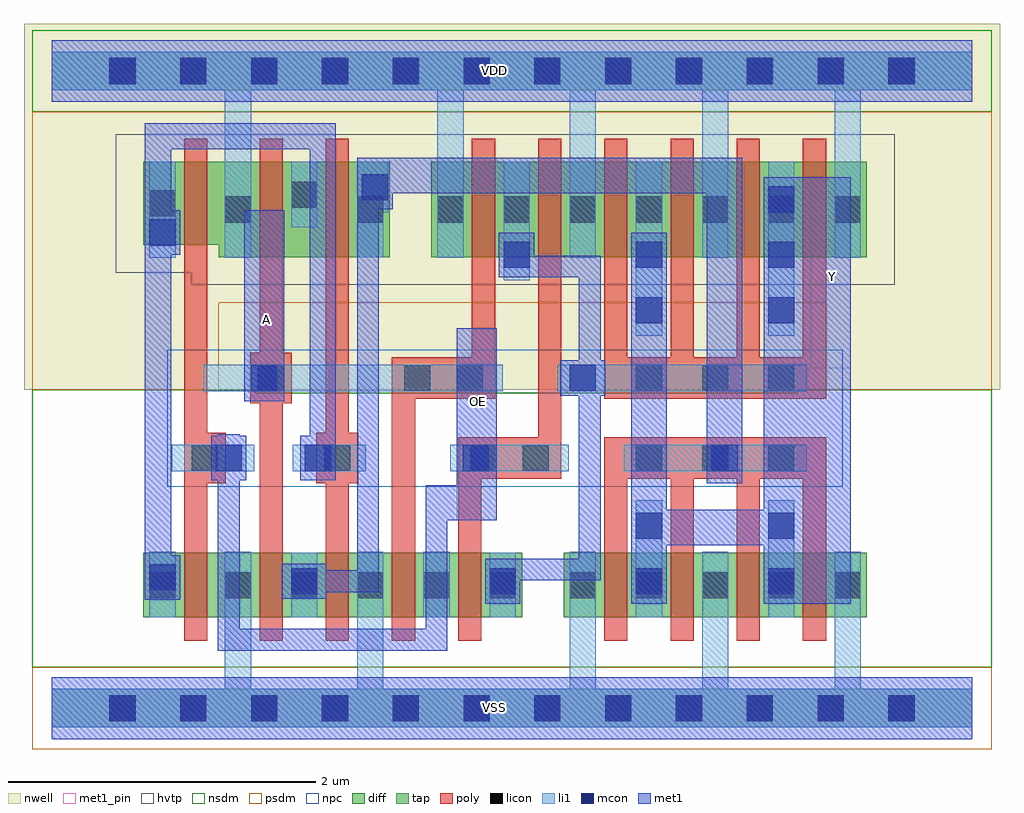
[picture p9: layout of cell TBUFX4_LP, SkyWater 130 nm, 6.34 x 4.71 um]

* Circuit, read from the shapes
.subckt TBUFX4_LP A OE VDD VSS Y
XM1 VSS OE n1 VSS sky130_fd_pr__nfet_01v8 w=0.42 l=0.15
XM2 n2 A VSS VSS sky130_fd_pr__nfet_01v8 w=0.42 l=0.15
XM3 VSS n1 n2 VSS sky130_fd_pr__nfet_01v8 w=0.42 l=0.15
XM4 n3 A VSS VSS sky130_fd_pr__nfet_01v8 w=0.42 l=0.15
XM5 n4 OE n3 VSS sky130_fd_pr__nfet_01v8 w=0.42 l=0.15
XM6 Y n2 VSS VSS sky130_fd_pr__nfet_01v8 w=0.42 l=0.15 m=4
XM7 VDD OE n1 VDD sky130_fd_pr__pfet_01v8_hvt w=0.54 l=0.15
XM8 n5 A VDD VDD sky130_fd_pr__pfet_01v8_hvt w=0.62 l=0.15
XM9 n2 n1 n5 VDD sky130_fd_pr__pfet_01v8_hvt w=0.62 l=0.15
XM10 n4 A VDD VDD sky130_fd_pr__pfet_01v8_hvt w=0.62 l=0.15
XM11 VDD OE n4 VDD sky130_fd_pr__pfet_01v8_hvt w=0.62 l=0.15
XM12 Y n4 VDD VDD sky130_fd_pr__pfet_01v8_hvt w=0.62 l=0.15 m=4
.ends

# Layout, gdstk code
from math import pi, radians
import gdstk
lib = gdstk.Library(unit=1e-6, precision=1e-09)
def R(c, l, rs):  # rectangles x0, y0, x1, y1
    for r in rs: c.add(gdstk.rectangle(r[:2], r[2:], *l))
def A(c, l, x, y, w, h, nx, ny, dx, dy):  # array of equal rectangles
    R(c, l, [(x+i*dx, y+j*dy, x+i*dx+w, y+j*dy+h) for i in range(nx) for j in range(ny)])
def P(c, l, *ps):  # polygons
    for p in ps: c.add(gdstk.Polygon(p, *l))
nwell = (64, 20)
diff = (65, 20)
tap = (65, 44)
poly = (66, 20)
licon = (66, 44)
li1 = (67, 20)
mcon = (67, 44)
met1_pin = (68, 16)
met1 = (68, 20)
hvtp = (78, 44)
nsdm = (93, 44)
psdm = (94, 20)
npc = (95, 20)

l1m1_c_cdns_758729379654 = lib.new_cell('L1M1_C_CDNS_758729379654')
R(l1m1_c_cdns_758729379654, li1, [(-0.165,-0.085,0.165,0.085)])
R(l1m1_c_cdns_758729379654, mcon, [(-0.085,-0.085,0.085,0.085)])
R(l1m1_c_cdns_758729379654, met1, [(-0.115,-0.145,0.115,0.145)])

pyl1con_c_cdns_758729379 = lib.new_cell('PYL1CON_C_CDNS_758729379653')
R(pyl1con_c_cdns_758729379, poly, [(-0.135,-0.165,0.135,0.165)])
R(pyl1con_c_cdns_758729379, licon, [(-0.085,-0.085,0.085,0.085)])
R(pyl1con_c_cdns_758729379, npc, [(-0.185,-0.185,0.185,0.185)])

l1m1_c_cdns_758729379655 = lib.new_cell('L1M1_C_CDNS_758729379655')
R(l1m1_c_cdns_758729379655, li1, [(-0.085,-0.165,0.085,0.165)])
R(l1m1_c_cdns_758729379655, mcon, [(-0.085,-0.085,0.085,0.085)])
R(l1m1_c_cdns_758729379655, met1, [(-0.115,-0.145,0.115,0.145)])

l1m1_c_cdns_758729379659 = lib.new_cell('L1M1_C_CDNS_758729379659')
R(l1m1_c_cdns_758729379659, li1, [(-0.085,-0.345,0.085,0.345)])
R(l1m1_c_cdns_758729379659, mcon, [(-0.085,-0.265,0.085,-0.095), (-0.085,0.095,0.085,0.265)])
R(l1m1_c_cdns_758729379659, met1, [(-0.115,-0.325,0.115,0.325)])

l1m1_c_cdns_758729379651 = lib.new_cell('L1M1_C_CDNS_7587293796510')
R(l1m1_c_cdns_758729379651, li1, [(-0.085,-0.525,0.085,0.525)])
A(l1m1_c_cdns_758729379651, mcon, -0.085, -0.445, 0.17, 0.17, 1, 3, 0, 0.36)
R(l1m1_c_cdns_758729379651, met1, [(-0.115,-0.505,0.115,0.505)])

licondiff_c_cdns_7587293 = lib.new_cell('LICONDIFF_C_CDNS_758729379657')
R(licondiff_c_cdns_7587293, diff, [(-0.125,-0.145,0.125,0.145)])
R(licondiff_c_cdns_7587293, licon, [(-0.085,-0.085,0.085,0.085), (-0.085,-0.085,0.085,0.085)])

l1m1_c_cdns_758729379652 = lib.new_cell('L1M1_C_CDNS_758729379652')
R(l1m1_c_cdns_758729379652, li1, [(-0.085,-0.165,0.085,0.165)])
R(l1m1_c_cdns_758729379652, mcon, [(-0.085,-0.085,0.085,0.085)])
R(l1m1_c_cdns_758729379652, met1, [(-0.145,-0.115,0.145,0.115)])

tbufx4_lp = lib.new_cell('TBUFX4_LP')
R(tbufx4_lp, nwell, [(-0.18,2.07,6.16,4.445)])
R(tbufx4_lp, diff, [(0.595,0.59,3.055,1.01), (3.325,0.59,5.295,1.01), (2.465,2.93,5.295,3.55)])
P(tbufx4_lp, diff, [(2.195,3.55),(0.595,3.55),(0.595,3.01),(1.085,3.01),(1.085,2.93),(2.195,2.93)])
A(tbufx4_lp, poly, 3.59, 0.44, 0.15, 1.32, 4, 1, 0.43, 0)
A(tbufx4_lp, poly, 3.59, 2.01, 0.15, 1.69, 4, 1, 0.43, 0)
R(tbufx4_lp, poly, [(0.86,0.44,1.01,3.7), (1.35,0.44,1.5,3.7), (1.78,0.44,1.93,3.7)])
P(tbufx4_lp, poly, [(2.88,3.7),(2.73,3.7),(2.73,2.28),(2.21,2.28),(2.21,0.44),(2.36,0.44),(2.36,2.01),(2.88,2.01)],
  [(3.31,3.7),(3.16,3.7),(3.16,1.76),(2.64,1.76),(2.64,0.44),(2.79,0.44),(2.79,1.49),(3.31,1.49)])
A(tbufx4_lp, licon, 0.375, -0.085, 0.17, 0.17, 12, 2, 0.46, 4.14)
A(tbufx4_lp, licon, 1.125, 0.715, 0.17, 0.17, 5, 1, 0.43, 0)
A(tbufx4_lp, licon, 3.365, 0.715, 0.17, 0.17, 5, 1, 0.43, 0)
A(tbufx4_lp, licon, 2.505, 3.155, 0.17, 0.17, 7, 1, 0.43, 0)
R(tbufx4_lp, licon, [(0.635,0.715,0.805,0.885), (1.125,3.155,1.295,3.325), (1.985,3.155,2.155,3.325), (0.635,3.195,0.805,3.365)])
A(tbufx4_lp, li1, 2.935, 2.93, 0.17, 0.62, 3, 1, 0.86, 0)
R(tbufx4_lp, li1, [(0.635,0.59,0.805,1.01), (1.555,0.59,1.725,1.01), (2.415,0.59,2.585,1.015), (2.845,0.59,3.015,1.01), (3.795,0.59,3.965,1.01), (4.655,0.59,4.825,1.01), (1.985,2.93,2.155,3.55), (0.635,3.01,0.805,3.55)])
P(tbufx4_lp, li1, [(5.98,4.265),(0,4.265),(0,4.015),(1.125,4.015),(1.125,2.925),(1.295,2.925),(1.295,4.015),(2.505,4.015),(2.505,2.925),(2.675,2.925),(2.675,4.015),(3.365,4.015),(3.365,2.925),(3.535,2.925),(3.535,4.015),(4.225,4.015),(4.225,2.925),(4.395,2.925),(4.395,4.015),(5.085,4.015),(5.085,2.925),(5.255,2.925),(5.255,4.015),(5.98,4.015)],
  [(5.98,0.125),(5.255,0.125),(5.255,1.015),(5.085,1.015),(5.085,0.125),(4.395,0.125),(4.395,1.015),(4.225,1.015),(4.225,0.125),(3.535,0.125),(3.535,1.015),(3.365,1.015),(3.365,0.125),(2.155,0.125),(2.155,1.015),(1.985,1.015),(1.985,0.125),(1.295,0.125),(1.295,1.015),(1.125,1.015),(1.125,0.125),(0,0.125),(0,-0.125),(5.98,-0.125)])
A(tbufx4_lp, mcon, 0.375, -0.085, 0.17, 0.17, 12, 2, 0.46, 4.14)
R(tbufx4_lp, met1_pin, [(2.63,1.22,2.89,2.47), (1.25,1.995,1.51,3.235), (4.93,2.21,5.19,3.45)])
P(tbufx4_lp, met1, [(2.89,2.47),(2.63,2.47),(2.63,1.45),(2.43,1.45),(2.43,0.515),(1.22,0.515),(1.22,1.78),(1.08,1.78),(1.08,0.375),(2.57,0.375),(2.57,1.22),(2.89,1.22)],
  [(3.565,2.94),(3.02,2.94),(3.02,2.8),(3.425,2.8),(3.425,0.97),(2.815,0.97),(2.815,0.825),(3.045,0.825),(3.045,0.83),(3.565,0.83)],
  [(4.485,3.575),(1.985,3.575),(1.985,0.895),(1.495,0.895),(1.495,0.755),(2.125,0.755),(2.125,3.345),(4.255,3.345),(4.255,1.46),(4.485,1.46)],
  [(5.19,3.45),(4.625,3.45),(4.625,1.29),(3.995,1.29),(3.995,3.09),(3.765,3.09),(3.765,0.68),(3.995,0.68),(3.995,1.06),(4.625,1.06),(4.625,0.68),(5.19,0.68)])
P(tbufx4_lp, hvtp, [(5.475,3.73),(0.415,3.73),(0.415,2.83),(0.905,2.83),(0.905,2.75),(5.475,2.75)])
R(tbufx4_lp, nsdm, [(-0.125,3.875,6.105,4.405)])
P(tbufx4_lp, nsdm, [(6.105,2.07),(4.845,2.07),(4.845,2.05),(1.32,2.05),(1.32,2.07),(-0.125,2.07),(-0.125,0.265),(6.105,0.265)])
R(tbufx4_lp, psdm, [(-0.125,-0.265,6.105,0.265)])
P(tbufx4_lp, psdm, [(6.105,3.875),(-0.125,3.875),(-0.125,2.07),(1.085,2.07),(1.085,2.635),(5.03,2.635),(5.03,2.07),(6.105,2.07)])
R(tbufx4_lp, npc, [(0.75,1.44,5.14,2.33)])
tbufx4_lp.add(gdstk.FlexPath([(0,4.14),(5.98,4.14)], 0.4, ends="flush", simple_path=True, layer=68, datatype=16))  # met1_pin
tbufx4_lp.add(gdstk.FlexPath([(0,0),(5.98,0)], 0.4, ends="flush", simple_path=True, layer=68, datatype=16))  # met1_pin
tbufx4_lp.add(gdstk.FlexPath([(0,4.14),(5.98,4.14)], 0.4, ends="flush", simple_path=True, layer=68, datatype=20))  # met1
tbufx4_lp.add(gdstk.FlexPath([(0,0),(5.98,0)], 0.4, ends="flush", simple_path=True, layer=68, datatype=20))  # met1
tbufx4_lp.add(gdstk.FlexPath([(1.38,1.995),(1.38,3.235)], 0.26, ends="flush", simple_path=True, layer=68, datatype=20))  # met1
tbufx4_lp.add(gdstk.FlexPath([(1.76,1.49),(1.76,3.715),(0.69,3.715),(0.69,0.705)], 0.17, ends="flush", simple_path=True, layer=68, datatype=20))  # met1
tbufx4_lp.add(gdstk.FlexPath([(3.36,1.625),(2.59,1.625)], 0.17, ends="flush", simple_path=True, layer=67, datatype=20))  # li1
tbufx4_lp.add(gdstk.FlexPath([(1.315,1.625),(0.78,1.625)], 0.17, ends="flush", simple_path=True, layer=67, datatype=20))  # li1
tbufx4_lp.add(gdstk.FlexPath([(2.93,2.145),(0.985,2.145)], 0.17, ends="flush", simple_path=True, layer=67, datatype=20))  # li1
tbufx4_lp.add(gdstk.FlexPath([(3.715,1.625),(4.905,1.625)], 0.17, ends="flush", simple_path=True, layer=67, datatype=20))  # li1
tbufx4_lp.add(gdstk.FlexPath([(1.64,3.125),(1.64,3.55)], 0.17, ends="flush", simple_path=True, layer=67, datatype=20))  # li1
tbufx4_lp.add(gdstk.FlexPath([(3.285,2.145),(4.905,2.145)], 0.17, ends="flush", simple_path=True, layer=67, datatype=20))  # li1
tbufx4_lp.add(gdstk.FlexPath([(2.04,1.625),(1.565,1.625)], 0.17, ends="flush", simple_path=True, layer=67, datatype=20))  # li1
tbufx4_lp.add(gdstk.FlexPath([(0,4.14),(5.98,4.14)], 0.25, ends="flush", simple_path=True, layer=65, datatype=44))  # tap
tbufx4_lp.add(gdstk.FlexPath([(0,0),(5.98,0)], 0.25, ends="flush", simple_path=True, layer=65, datatype=44))  # tap
tbufx4_lp.add(gdstk.Reference(l1m1_c_cdns_758729379654, (2.755,1.625), rotation=pi))
tbufx4_lp.add(gdstk.Reference(l1m1_c_cdns_758729379654, (1.73,1.625), rotation=pi))
tbufx4_lp.add(gdstk.Reference(l1m1_c_cdns_758729379654, (1.38,2.145), x_reflection=True))
tbufx4_lp.add(gdstk.Reference(l1m1_c_cdns_758729379654, (4.37,1.625)))
tbufx4_lp.add(gdstk.Reference(l1m1_c_cdns_758729379654, (1.15,1.625), x_reflection=True))
tbufx4_lp.add(gdstk.Reference(pyl1con_c_cdns_758729379, (2.375,2.145), rotation=3*pi/2))
tbufx4_lp.add(gdstk.Reference(pyl1con_c_cdns_758729379, (3.145,1.625), rotation=3*pi/2))
tbufx4_lp.add(gdstk.Reference(pyl1con_c_cdns_758729379, (1.425,2.145)))
tbufx4_lp.add(gdstk.Reference(pyl1con_c_cdns_758729379, (2.805,1.625), rotation=3*pi/2))
tbufx4_lp.add(gdstk.Reference(pyl1con_c_cdns_758729379, (1.855,1.625)))
tbufx4_lp.add(gdstk.Reference(pyl1con_c_cdns_758729379, (0.995,1.625), rotation=pi, x_reflection=True))
tbufx4_lp.add(gdstk.Reference(pyl1con_c_cdns_758729379, (3.88,1.625), rotation=3*pi/2))
tbufx4_lp.add(gdstk.Reference(pyl1con_c_cdns_758729379, (4.74,1.625), rotation=3*pi/2))
tbufx4_lp.add(gdstk.Reference(pyl1con_c_cdns_758729379, (4.31,1.625), rotation=3*pi/2))
tbufx4_lp.add(gdstk.Reference(pyl1con_c_cdns_758729379, (2.715,2.145), rotation=3*pi/2))
tbufx4_lp.add(gdstk.Reference(pyl1con_c_cdns_758729379, (4.74,2.145), rotation=3*pi/2))
tbufx4_lp.add(gdstk.Reference(pyl1con_c_cdns_758729379, (4.31,2.145), rotation=3*pi/2))
tbufx4_lp.add(gdstk.Reference(pyl1con_c_cdns_758729379, (3.88,2.145), rotation=3*pi/2))
tbufx4_lp.add(gdstk.Reference(l1m1_c_cdns_758729379655, (2.1,3.385)))
tbufx4_lp.add(gdstk.Reference(l1m1_c_cdns_758729379655, (2.93,0.825)))
tbufx4_lp.add(gdstk.Reference(l1m1_c_cdns_758729379655, (3.02,2.945)))
tbufx4_lp.add(gdstk.Reference(l1m1_c_cdns_758729379655, (3.45,2.145), rotation=pi/2))
tbufx4_lp.add(gdstk.Reference(l1m1_c_cdns_758729379655, (0.72,3.09), rotation=pi, x_reflection=True))
tbufx4_lp.add(gdstk.Reference(l1m1_c_cdns_758729379655, (0.72,0.85), rotation=pi, x_reflection=True))
tbufx4_lp.add(gdstk.Reference(l1m1_c_cdns_758729379659, (3.88,1.005)))
tbufx4_lp.add(gdstk.Reference(l1m1_c_cdns_758729379659, (3.88,2.765)))
tbufx4_lp.add(gdstk.Reference(l1m1_c_cdns_758729379659, (4.74,1.005)))
tbufx4_lp.add(gdstk.Reference(l1m1_c_cdns_758729379651, (4.74,2.945)))
tbufx4_lp.add(gdstk.Reference(licondiff_c_cdns_7587293, (1.64,3.335)))
tbufx4_lp.add(gdstk.Reference(licondiff_c_cdns_7587293, (2.5,0.8)))
tbufx4_lp.add(gdstk.Reference(l1m1_c_cdns_758729379652, (1.64,0.825)))
tbufx4_lp.add(gdstk.Label('VSS', (2.875,0.005), layer=68, texttype=5))
tbufx4_lp.add(gdstk.Label('Y', (5.075,2.805), layer=68, texttype=5))
tbufx4_lp.add(gdstk.Label('OE', (2.775,1.99), layer=68, texttype=5))
tbufx4_lp.add(gdstk.Label('A', (1.395,2.525), layer=68, texttype=5))
tbufx4_lp.add(gdstk.Label('VDD', (2.875,4.145), layer=68, texttype=5))

lib.write_gds('TBUFX4_LP.gds')
